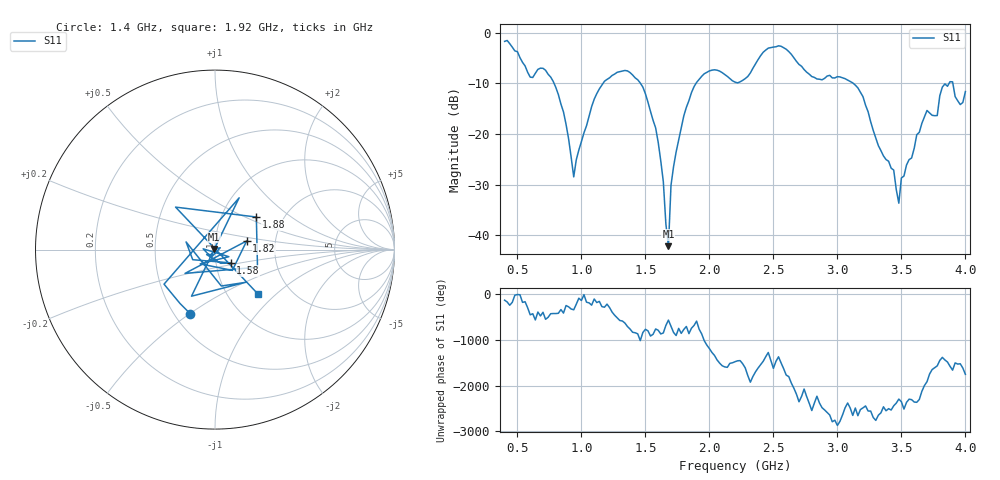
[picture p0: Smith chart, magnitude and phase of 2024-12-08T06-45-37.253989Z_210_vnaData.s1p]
!Created with skrf (http://scikit-rf.org).
# Hz S RI R 50.0
!freq ReS11 ImS11
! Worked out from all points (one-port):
!   181 points, 400 MHz to 4 GHz, reference 50 ohm
!   lowest |S11| = -42.2 dB at 1.68 GHz (marker M1), VSWR 1.02, Z = 49.3 + j0.329 ohm
!   |S11| at or under -10 dB: 786.3 MHz to 1.169 GHz (382.7 MHz wide, 39.1 % of centre); 1.461 GHz to 1.896 GHz (434.2 MHz wide, 25.9 % of centre); 3.124 GHz to 3.873 GHz (748.9 MHz wide, 21.4 % of centre) (the widest 3 of 4)
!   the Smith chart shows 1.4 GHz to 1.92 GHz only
!   S11 on the Smith chart (normalised r, x): 1.4 GHz: 0.60, -0.50; 1.58 GHz: 1.18, -0.18; 1.82 GHz: 1.42, +0.14; 1.88 GHz: 1.46, +0.58; 1.92 GHz: 1.38, -0.78
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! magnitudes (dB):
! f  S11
! 400 MHz  -1.7
! 600 MHz  -8.8
! 720 MHz  -7.4
! 860 MHz  -15.7
! 940 MHz  -28.5
! 1.1 GHz  -13.1
! 1.3 GHz  -7.7
! 1.4 GHz  -8.3
! 1.58 GHz  -18.8
! 1.64 GHz  -29.4
! 1.68 GHz  -42.2
! 1.7 GHz  -30.2
! 1.76 GHz  -21.2
! 1.82 GHz  -14.7
! 1.88 GHz  -10.7
! 1.92 GHz  -9.2
! 2.2 GHz  -9.8
! 2.46 GHz  -3.0
! 2.66 GHz  -5.0
! 3.1 GHz  -9.6
! 3.44 GHz  -27.1
! 3.48 GHz  -33.7
! 3.56 GHz  -25.1
! 3.7 GHz  -15.4
! 3.78 GHz  -16.4
! 3.84 GHz  -10.1
! 3.96 GHz  -14.2
! 4 GHz  -11.6
